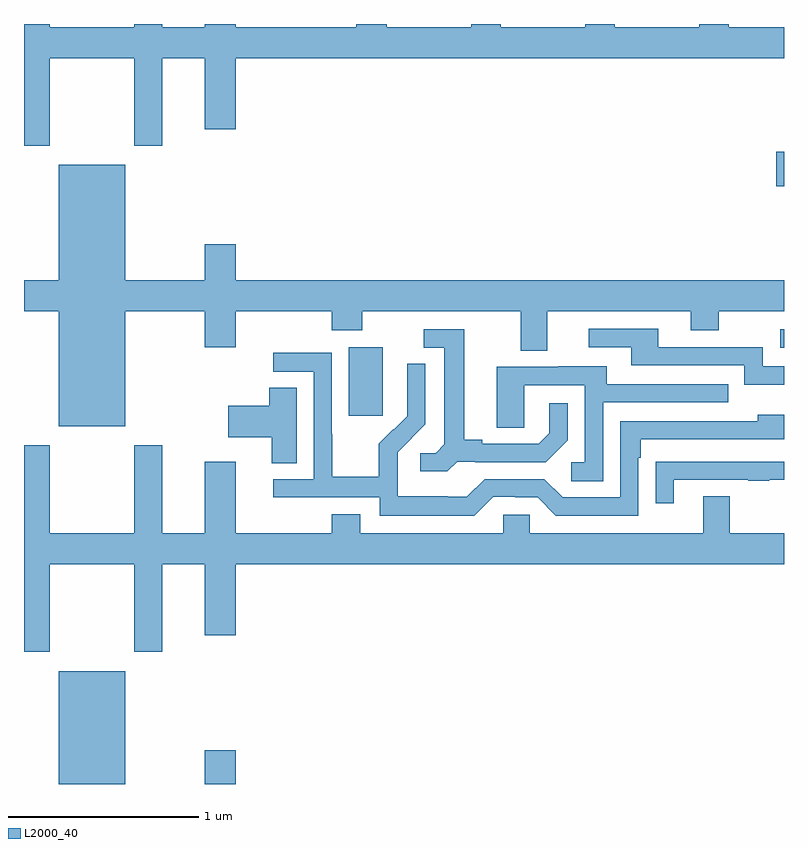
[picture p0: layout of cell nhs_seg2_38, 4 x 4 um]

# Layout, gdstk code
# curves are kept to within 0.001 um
import gdstk
lib = gdstk.Library(unit=1e-6, precision=1e-09)
def R(c, l, rs):  # rectangles x0, y0, x1, y1
    for r in rs: c.add(gdstk.rectangle(r[:2], r[2:], *l))
def P(c, l, *ps):  # polygons
    for p in ps: c.add(gdstk.Polygon(p, *l))
L2000_40 = (2000, 40)

nhs_seg2_38 = lib.new_cell('nhs_seg2_38')
R(nhs_seg2_38, L2000_40, [(111.182,659.8,111.532,660.394), (111.95,659.8,112.114,659.977), (112.709,661.737,112.888,662.098), (114.981,662.097,115,662.193), (114.96,662.945,115,663.128)])
P(nhs_seg2_38, L2000_40, [(111.135,663.62),(111.58,663.62),(111.58,663.159),(111.727,663.159),(111.727,663.62),(111.95,663.62),(111.95,663.246),(112.114,663.246),(112.114,663.62),(115,663.62),(115,663.784),(114.708,663.784),(114.708,663.8),(114.553,663.8),(114.553,663.784),(114.108,663.784),(114.108,663.8),(113.953,663.8),(113.953,663.784),(113.508,663.784),(113.508,663.8),(113.353,663.8),(113.353,663.784),(112.908,663.784),(112.908,663.8),(112.748,663.8),(112.748,663.784),(112.114,663.784),(112.114,663.8),(111.95,663.8),(111.95,663.784),(111.727,663.784),(111.727,663.8),(111.58,663.8),(111.58,663.784),(111.135,663.784),(111.135,663.8),(111,663.8),(111,663.159),(111.135,663.159)],
  [(111.532,662.288),(111.95,662.288),(111.95,662.1),(112.114,662.1),(112.114,662.288),(112.619,662.288),(112.619,662.189),(112.779,662.189),(112.779,662.288),(113.615,662.288),(113.615,662.08),(113.755,662.08),(113.755,662.288),(114.509,662.288),(114.509,662.189),(114.657,662.189),(114.657,662.288),(115,662.288),(115,662.452),(112.114,662.452),(112.114,662.641),(111.95,662.641),(111.95,662.452),(111.532,662.452),(111.532,663.058),(111.182,663.058),(111.182,662.452),(111,662.452),(111,662.288),(111.182,662.288),(111.182,661.682),(111.532,661.682)],
  [(115,661.998),(114.888,661.998),(114.888,662.1),(114.337,662.1),(114.337,662.196),(113.973,662.196),(113.973,662.1),(114.197,662.1),(114.197,662.004),(114.792,662.004),(114.792,661.901),(115,661.901)],
  [(113.28,661.497),(113.374,661.497),(113.374,661.494),(113.746,661.494),(113.862,661.61),(113.862,661.804),(113.765,661.804),(113.765,661.647),(113.708,661.59),(113.413,661.59),(113.413,661.613),(113.317,661.613),(113.317,662.193),(113.103,662.193),(113.103,662.097),(113.213,662.097),(113.213,661.589),(113.166,661.542),(113.085,661.542),(113.085,661.445),(113.228,661.445)],
  [(113.469,661.311),(113.585,661.311),(113.585,661.308),(113.703,661.308),(113.799,661.212),(114.234,661.212),(114.234,661.517),(114.247,661.517),(114.247,661.614),(115,661.614),(115,661.744),(114.863,661.744),(114.863,661.71),(114.138,661.71),(114.138,661.308),(113.835,661.308),(113.739,661.404),(113.424,661.404),(113.331,661.311),(113.231,661.311),(113.231,661.315),(112.968,661.315),(112.968,661.449),(112.966,661.449),(112.966,661.546),(113.112,661.694),(113.112,662.012),(113.016,662.012),(113.016,661.858),(113.018,661.858),(113.018,661.736),(112.947,661.665),(112.944,661.668),(112.867,661.591),(112.867,661.417),(112.623,661.417),(112.623,661.64),(112.62,661.64),(112.62,662.07),(112.311,662.07),(112.311,661.971),(112.524,661.971),(112.524,661.404),(112.311,661.404),(112.311,661.308),(112.872,661.308),(112.872,661.211),(113.369,661.211)],
  [(114.048,661.809),(114.707,661.809),(114.707,661.905),(114.067,661.905),(114.067,661.999),(113.813,661.999),(113.813,661.995),(113.489,661.995),(113.489,661.675),(113.634,661.675),(113.634,661.899),(113.952,661.899),(113.952,661.494),(113.88,661.494),(113.88,661.393),(114.048,661.393)],
  [(112.435,661.886),(112.292,661.886),(112.292,661.791),(112.074,661.791),(112.074,661.625),(112.304,661.625),(112.304,661.489),(112.435,661.489)],
  [(111.135,660.956),(111.58,660.956),(111.58,660.495),(111.727,660.495),(111.727,660.956),(111.95,660.956),(111.95,660.582),(112.114,660.582),(112.114,660.956),(115,660.956),(115,661.12),(114.715,661.12),(114.715,661.315),(114.575,661.315),(114.575,661.12),(113.661,661.12),(113.661,661.218),(113.523,661.218),(113.523,661.12),(112.771,661.12),(112.771,661.219),(112.619,661.219),(112.619,661.12),(112.114,661.12),(112.114,661.495),(111.95,661.495),(111.95,661.12),(111.727,661.12),(111.727,661.582),(111.58,661.582),(111.58,661.12),(111.135,661.12),(111.135,661.582),(111,661.582),(111,660.495),(111.135,660.495)],
  [(114.421,661.401),(114.811,661.401),(114.811,661.396),(114.923,661.396),(114.923,661.401),(115,661.401),(115,661.497),(114.427,661.497),(114.427,661.496),(114.325,661.496),(114.325,661.278),(114.421,661.278)])

lib.write_gds('nhs_seg2_38.gds')
